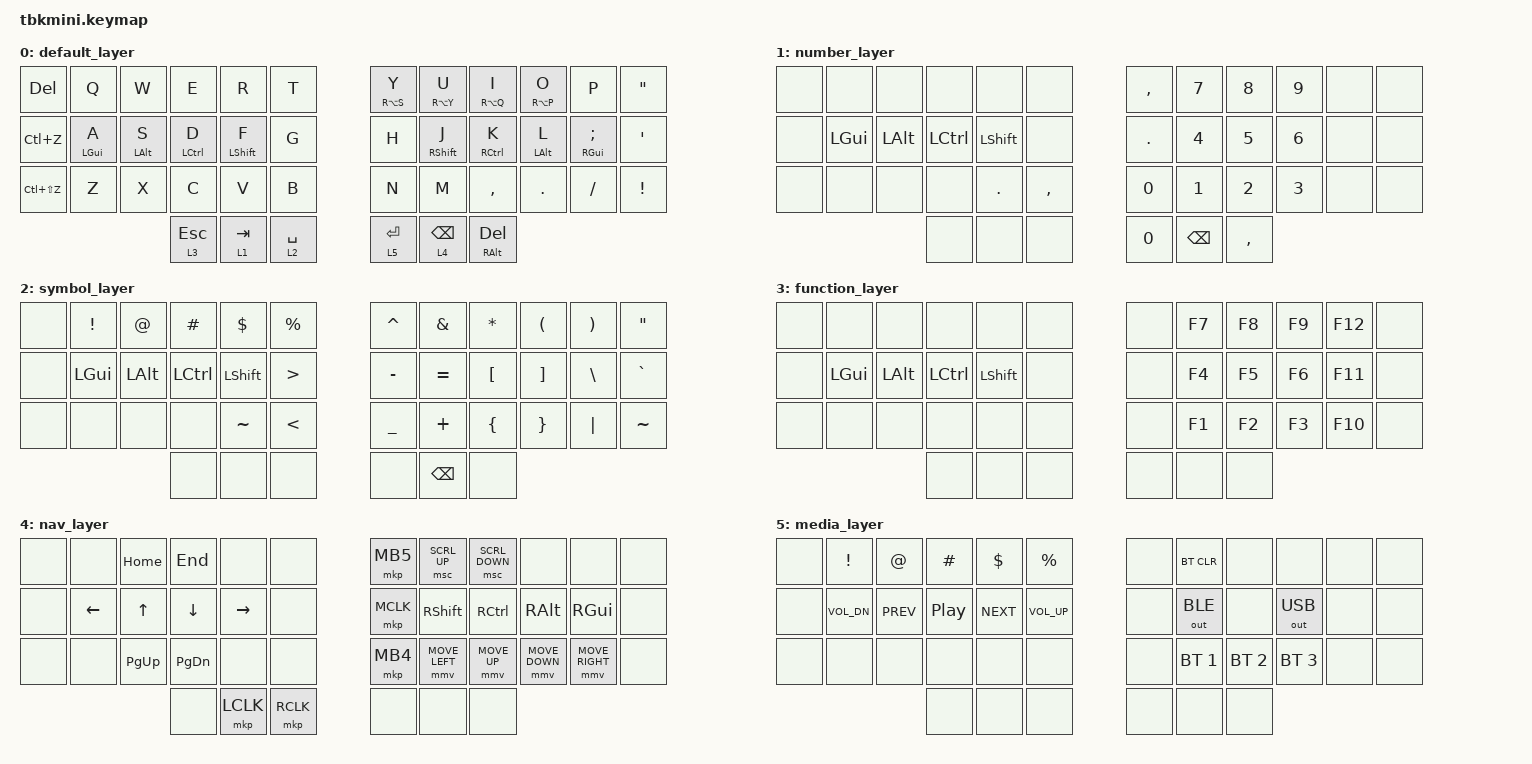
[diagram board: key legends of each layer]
/*
 * Copyright (c) 2021 Casey Webster
 *
 * SPDX-License-Identifier: MIT
 */

#include <behaviors.dtsi>
#include <dt-bindings/zmk/bt.h>
#include <dt-bindings/zmk/keys.h>
#include <dt-bindings/zmk/outputs.h>
#include <dt-bindings/zmk/pointing.h>

&mt {
    flavor = "balanced";
    tapping-term-ms = <150>;
};

/ {
    combos {
        compatible = "zmk,combos";

        caps_word {
            bindings = <&caps_word>;
            key-positions = <17 18>;
            layers = <0>;
        };
    };

    keymap {
        compatible = "zmk,keymap";

        default_layer {
            // ---------------------------------------------------------------------------------------------------------------------------------
            // |  ESC  |  Q  |  W  |  F   |  P   |  B   |    |  J   |  L   |  U  |  Y  |  '  |   \  |
            // |  TAB  |  A  |  R  |  S   |  T   |  G   |    |  M   |  N   |  E  |  I  |  O  |   '  |
            // | SHIFT |  Z  |  X  |  C   |  D   |  V   |    |  K   |  H   |  ,  |  .  |  /  | CTRL |
            //                     | ESC  | SPC  | TAB  |    | RET  | BSPC | DEL |

            bindings = <
&kp DELETE     &kp Q           &kp W           &kp E        &kp R             &kp T          &mt RA(S) Y  &mt RA(Y) U        &mt RA(Q) I        &mt RA(P) O     &kp P                    &kp DOUBLE_QUOTES
&kp LC(Z)      &mt LEFT_GUI A  &mt LEFT_ALT S  &mt LCTRL D  &mt LEFT_SHIFT F  &kp G          &kp H        &mt RIGHT_SHIFT J  &mt RCTRL K        &mt LEFT_ALT L  &mt RIGHT_GUI SEMICOLON  &kp SQT
&kp LC(LS(Z))  &kp Z           &kp X           &kp C        &kp V             &kp B          &kp N        &kp M              &kp COMMA          &kp DOT         &kp FSLH                 &kp EXCLAMATION
                                               &lt 3 ESC    &lt 1 TAB         &lt 2 SPACE    &lt 5 RET    &lt 4 BSPC         &mt RIGHT_ALT DEL
            >;
        };

        number_layer {
            bindings = <
&none  &none         &none         &none      &none           &none        &kp COMMA     &kp N7         &kp NUMBER_8  &kp NUMBER_9  &none  &none
&none  &kp LEFT_GUI  &kp LEFT_ALT  &kp LCTRL  &kp LEFT_SHIFT  &none        &kp PERIOD    &kp NUMBER_4   &kp NUMBER_5  &kp N6        &none  &none
&none  &none         &none         &none      &kp PERIOD      &kp COMMA    &kp N0        &kp NUMBER_1   &kp NUMBER_2  &kp NUMBER_3  &none  &none
                                   &none      &none           &none        &kp NUMBER_0  &kp BACKSPACE  &kp COMMA
            >;
        };

        symbol_layer {
            bindings = <
&none  &kp EXCLAMATION  &kp AT_SIGN   &kp HASH   &kp DOLLAR      &kp PERCENT      &kp CARET       &kp AMPERSAND  &kp ASTERISK    &kp LEFT_PARENTHESIS  &kp RIGHT_PARENTHESIS  &kp DOUBLE_QUOTES
&none  &kp LEFT_GUI     &kp LEFT_ALT  &kp LCTRL  &kp LEFT_SHIFT  &kp GT           &kp MINUS       &kp EQUAL      &kp LBKT        &kp RBKT              &kp BACKSLASH          &kp GRAVE
&none  &none            &none         &none      &kp TILDE       &kp LESS_THAN    &kp UNDERSCORE  &kp PLUS       &kp LEFT_BRACE  &kp RIGHT_BRACE       &kp PIPE               &kp TILDE
                                      &none      &none           &none            &none           &kp BACKSPACE  &none
            >;
        };

        function_layer {
            bindings = <
&none  &none         &none         &none      &none           &none    &none  &kp F7  &kp F8  &kp F9  &kp F12  &none
&none  &kp LEFT_GUI  &kp LEFT_ALT  &kp LCTRL  &kp LEFT_SHIFT  &none    &none  &kp F4  &kp F5  &kp F6  &kp F11  &none
&none  &none         &none         &none      &none           &none    &none  &kp F1  &kp F2  &kp F3  &kp F10  &none
                                   &none      &none           &none    &none  &none   &none
            >;
        };

        nav_layer {
            bindings = <
&none  &none           &kp HOME      &kp END        &none      &none        &mkp MB5   &msc SCRL_UP    &msc SCRL_DOWN  &none           &none            &none
&none  &kp LEFT_ARROW  &kp UP_ARROW  &kp DOWN       &kp RIGHT  &none        &mkp MCLK  &kp RSHIFT      &kp RCTRL       &kp RALT        &kp RGUI         &none
&none  &none           &kp PG_UP     &kp PAGE_DOWN  &none      &none        &mkp MB4   &mmv MOVE_LEFT  &mmv MOVE_UP    &mmv MOVE_DOWN  &mmv MOVE_RIGHT  &none
                                     &none          &mkp LCLK  &mkp RCLK    &none      &none           &none
            >;
        };

        media_layer {
            bindings = <
&none  &kp EXCL      &kp AT      &kp HASH  &kp DOLLAR  &kp PERCENT     &none  &bt BT_CLR    &none         &none         &none  &none
&none  &kp C_VOL_DN  &kp C_PREV  &kp C_PP  &kp C_NEXT  &kp C_VOL_UP    &none  &out OUT_BLE  &none         &out OUT_USB  &none  &none
&none  &none         &none       &none     &none       &none           &none  &bt BT_SEL 1  &bt BT_SEL 2  &bt BT_SEL 3  &none  &none
                                 &none     &none       &none           &none  &none         &none
            >;
        };
    };
};
